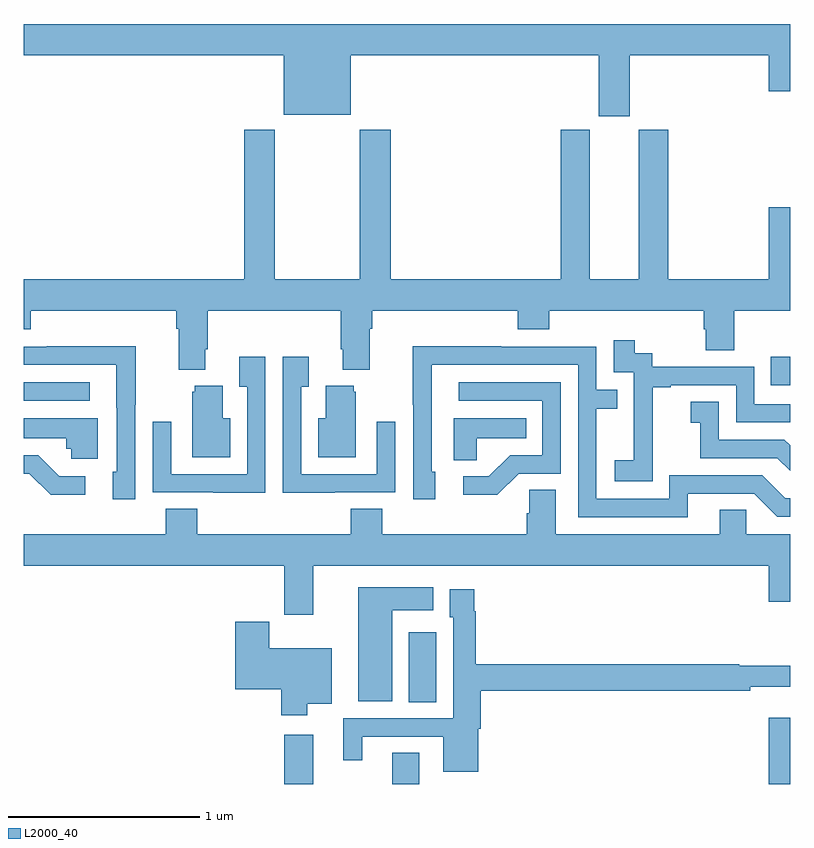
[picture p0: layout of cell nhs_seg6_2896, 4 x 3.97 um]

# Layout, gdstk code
import gdstk
lib = gdstk.Library(unit=1e-6, precision=1e-09)
def R(c, l, rs):  # rectangles x0, y0, x1, y1
    for r in rs: c.add(gdstk.rectangle(r[:2], r[2:], *l))
def P(c, l, *ps):  # polygons
    for p in ps: c.add(gdstk.Polygon(p, *l))
L2000_40 = (2000, 40)

nhs_seg6_2896 = lib.new_cell('nhs_seg6_2896')
R(nhs_seg6_2896, L2000_40, [(282.359,975.5,282.511,975.757), (282.923,975.5,283.063,975.662), (284.888,975.5,285,975.847), (283.01,975.928,283.153,976.291), (281,977.502,281.344,977.598), (284.899,977.583,285,977.731)])
P(nhs_seg6_2896, L2000_40, [(284.164,979.304),(284.888,979.304),(284.888,979.116),(285,979.116),(285,979.468),(281,979.468),(281,979.304),(282.356,979.304),(282.356,978.995),(282.706,978.995),(282.706,979.304),(284,979.304),(284,978.987),(284.164,978.987)],
  [(284.549,977.874),(284.561,977.874),(284.561,977.764),(284.709,977.764),(284.709,977.972),(285,977.972),(285,978.511),(284.888,978.511),(284.888,978.136),(284.363,978.136),(284.363,978.915),(284.21,978.915),(284.21,978.136),(283.954,978.136),(283.954,978.915),(283.802,978.915),(283.802,978.136),(282.914,978.136),(282.914,978.916),(282.754,978.916),(282.754,978.136),(282.309,978.136),(282.309,978.916),(282.149,978.916),(282.149,978.136),(281,978.136),(281,977.873),(281.036,977.873),(281.036,977.972),(281.795,977.972),(281.795,977.876),(281.807,977.876),(281.807,977.663),(281.947,977.663),(281.947,977.77),(281.96,977.77),(281.96,977.972),(282.653,977.972),(282.653,977.77),(282.665,977.77),(282.665,977.663),(282.805,977.663),(282.805,977.876),(282.818,977.876),(282.818,977.972),(283.577,977.972),(283.577,977.873),(283.742,977.873),(283.742,977.972),(284.549,977.972)],
  [(284.283,977.287),(284.282,977.287),(284.282,977.571),(284.377,977.571),(284.377,977.583),(284.718,977.583),(284.718,977.388),(285,977.388),(285,977.484),(284.814,977.484),(284.814,977.679),(284.28,977.679),(284.28,977.748),(284.188,977.748),(284.188,977.818),(284.079,977.818),(284.079,977.649),(284.184,977.649),(284.184,977.42),(284.183,977.42),(284.183,977.191),(284.085,977.191),(284.085,977.081),(284.283,977.081)],
  [(284.467,977.016),(284.814,977.016),(284.934,976.896),(285,976.896),(285,976.992),(284.976,976.992),(284.856,977.112),(284.37,977.112),(284.37,976.989),(283.989,976.989),(283.989,977.458),(284.099,977.458),(284.099,977.559),(283.989,977.559),(283.989,977.784),(283.493,977.784),(283.493,977.786),(283.03,977.786),(283.03,977.479),(283.032,977.479),(283.032,976.986),(283.147,976.986),(283.147,977.13),(283.128,977.13),(283.128,977.688),(283.893,977.688),(283.893,976.893),(284.467,976.893)],
  [(281.58,977.479),(281.583,977.479),(281.583,977.786),(281.119,977.786),(281.119,977.784),(281,977.784),(281,977.688),(281.483,977.688),(281.483,977.464),(281.484,977.464),(281.484,977.13),(281.465,977.13),(281.465,976.986),(281.58,976.986)],
  [(282.261,977.731),(282.125,977.731),(282.125,977.575),(282.165,977.575),(282.165,977.118),(281.769,977.118),(281.769,977.392),(281.673,977.392),(281.673,977.022),(281.989,977.022),(281.989,977.021),(282.261,977.021)],
  [(282.623,977.022),(282.939,977.022),(282.939,977.392),(282.843,977.392),(282.843,977.118),(282.447,977.118),(282.447,977.575),(282.487,977.575),(282.487,977.731),(282.351,977.731),(282.351,977.021),(282.623,977.021)],
  [(283.584,977.121),(283.803,977.121),(283.803,977.598),(283.269,977.598),(283.269,977.502),(283.707,977.502),(283.707,977.217),(283.538,977.217),(283.427,977.106),(283.293,977.106),(283.293,977.009),(283.471,977.009)],
  [(282.076,977.41),(282.037,977.41),(282.037,977.578),(281.891,977.578),(281.891,977.547),(281.879,977.547),(281.879,977.207),(282.076,977.207)],
  [(282.733,977.547),(282.722,977.547),(282.722,977.578),(282.575,977.578),(282.575,977.41),(282.536,977.41),(282.536,977.207),(282.733,977.207)],
  [(285,977.268),(284.97,977.298),(284.628,977.298),(284.628,977.497),(284.481,977.497),(284.481,977.387),(284.53,977.387),(284.53,977.202),(284.933,977.202),(285,977.135)],
  [(283.365,977.306),(283.622,977.306),(283.622,977.41),(283.244,977.41),(283.244,977.191),(283.365,977.191)],
  [(281.386,977.41),(281,977.41),(281,977.306),(281.221,977.306),(281.221,977.25),(281.247,977.25),(281.247,977.198),(281.386,977.198)],
  [(281.32,977.106),(281.185,977.106),(281.074,977.217),(281,977.217),(281,977.121),(281.028,977.121),(281.141,977.009),(281.32,977.009)],
  [(282.511,976.64),(284.888,976.64),(284.888,976.452),(285,976.452),(285,976.804),(284.772,976.804),(284.772,976.931),(284.633,976.931),(284.633,976.804),(283.777,976.804),(283.777,977.036),(283.638,977.036),(283.638,976.913),(283.625,976.913),(283.625,976.804),(282.872,976.804),(282.872,976.937),(282.707,976.937),(282.707,976.804),(281.906,976.804),(281.906,976.937),(281.741,976.937),(281.741,976.804),(281,976.804),(281,976.64),(282.359,976.64),(282.359,976.383),(282.511,976.383)],
  [(282.922,976.406),(283.138,976.406),(283.138,976.528),(282.746,976.528),(282.746,975.932),(282.922,975.932)],
  [(283.372,975.789),(283.385,975.789),(283.385,975.988),(284.792,975.988),(284.792,976.007),(285,976.007),(285,976.117),(284.735,976.117),(284.735,976.124),(283.358,976.124),(283.358,976.403),(283.351,976.403),(283.351,976.516),(283.223,976.516),(283.223,976.371),(283.242,976.371),(283.242,975.843),(282.668,975.843),(282.668,975.624),(282.766,975.624),(282.766,975.747),(283.19,975.747),(283.19,975.563),(283.372,975.563)],
  [(282.478,975.92),(282.607,975.92),(282.607,976.21),(282.281,976.21),(282.281,976.348),(282.104,976.348),(282.104,975.995),(282.344,975.995),(282.344,975.858),(282.478,975.858)])

lib.write_gds('nhs_seg6_2896.gds')
